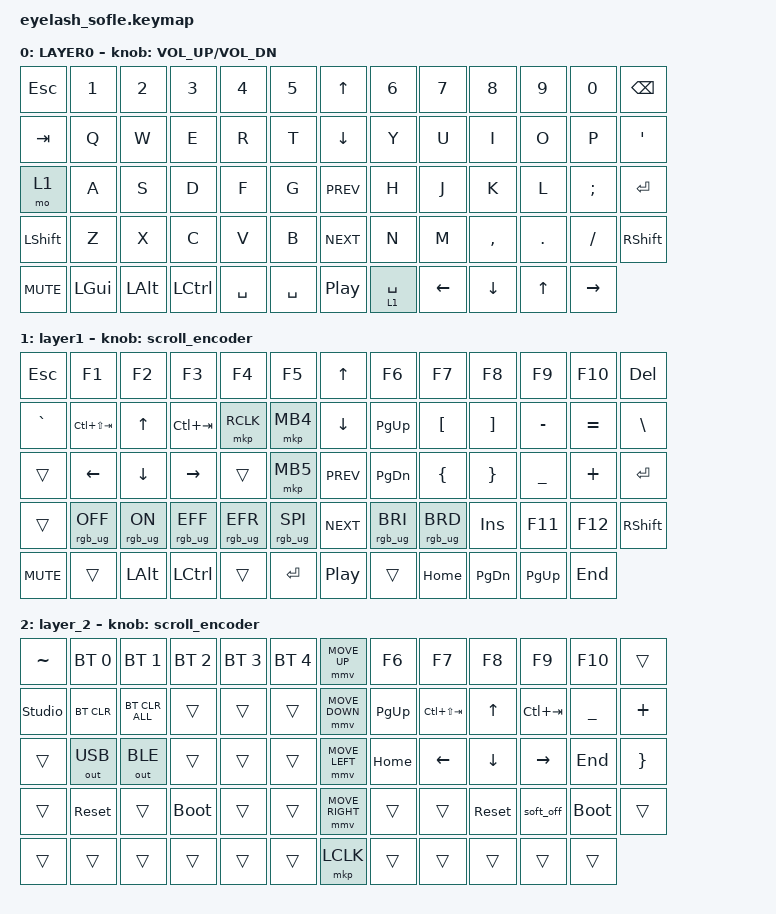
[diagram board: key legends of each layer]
#include <dt-bindings/zmk/mouse.h>
#include <input/processors.dtsi>
#include <behaviors.dtsi>
#include <dt-bindings/zmk/bt.h>
#include <dt-bindings/zmk/keys.h>
#include <dt-bindings/zmk/outputs.h>
#include <dt-bindings/zmk/pointing.h>
#include <dt-bindings/zmk/pointing.h>
#include <dt-bindings/zmk/pointing.h>
#include <dt-bindings/zmk/rgb.h>

/*

   &mmv_input_listener {
       input-processors = <&zip_xy_scaler 2 1>;
   };

   &msc_input_listener {
       input-processors = <&zip_xy_scaler 2 1>;
   };

 */

#define ZMK_MOUSE_DEFAULT_MOVE_VAL 1200  // 600
#define ZMK_MOUSE_DEFAULT_SCRL_VAL 20    // 10

/ {
    behaviors {
        mmv {
            acceleration-exponent = <1>;      // 1
            time-to-max-speed-ms = <900>;    // 40
            delay-ms = <0>;                   // 0
        };

        msc {
            acceleration-exponent = <1>;      // 0
            time-to-max-speed-ms = <400>;      // 500
            delay-ms = <0>;                   //   10
        };
    };

    scroll_encoder: scroll_encoder {
        compatible = "zmk,behavior-sensor-rotate";
        #sensor-binding-cells = <0>;
        bindings = <&msc SCRL_DOWN>, <&msc SCRL_UP>;

        tap-ms = <30>;
    };

    keymap {
        compatible = "zmk,keymap";

        layer0 {
            bindings = <
&kp ESC     &kp N1        &kp N2        &kp N3            &kp N4     &kp N5       &kp UP_ARROW      &kp N6       &kp N7    &kp N8     &kp N9        &kp N0     &kp BACKSPACE
&kp TAB     &kp Q         &kp W         &kp E             &kp R      &kp T        &kp DOWN_ARROW    &kp Y        &kp U     &kp I      &kp O         &kp P      &kp SINGLE_QUOTE
&mo 1       &kp A         &kp S         &kp D             &kp F      &kp G        &kp C_PREV        &kp H        &kp J     &kp K      &kp L         &kp SEMI   &kp ENTER
&kp LSHFT   &kp Z         &kp X         &kp C             &kp V      &kp B        &kp C_NEXT        &kp N        &kp M     &kp COMMA  &kp DOT       &kp FSLH   &kp RIGHT_SHIFT
&kp C_MUTE  &kp LEFT_GUI  &kp LEFT_ALT  &kp LEFT_CONTROL  &kp SPACE  &kp SPACE    &kp C_PLAY_PAUSE  &lt 1 SPACE  &kp LEFT  &kp DOWN   &kp UP_ARROW  &kp RIGHT
            >;

            sensor-bindings = <&inc_dec_kp C_VOLUME_UP C_VOL_DN>;
            display-name = "LAYER0";
        };

        layer_1 {
            bindings = <
&kp ESCAPE  &kp F1           &kp F2          &kp F3            &kp F4           &kp F5             &kp UP_ARROW      &kp F6           &kp F7            &kp F8             &kp F9       &kp F10    &kp DEL
&kp GRAVE   &kp LC(LS(TAB))  &kp UP_ARROW    &kp LC(TAB)       &mkp RCLK        &mkp MB4           &kp DOWN          &kp PG_UP        &kp LEFT_BRACKET  &kp RIGHT_BRACKET  &kp MINUS    &kp EQUAL  &kp BACKSLASH
&trans      &kp LEFT         &kp DOWN        &kp RIGHT         &trans           &mkp MB5           &kp C_PREV        &kp PG_DN        &kp LEFT_BRACE    &kp RIGHT_BRACE    &kp UNDER    &kp PLUS   &kp ENTER
&trans      &rgb_ug RGB_OFF  &rgb_ug RGB_ON  &rgb_ug RGB_EFF   &rgb_ug RGB_EFR  &rgb_ug RGB_SPI    &kp C_NEXT        &rgb_ug RGB_BRI  &rgb_ug RGB_BRD   &kp INSERT         &kp F11      &kp F12    &kp RIGHT_SHIFT
&kp C_MUTE  &trans           &kp LEFT_ALT    &kp LEFT_CONTROL  &trans           &kp ENTER          &kp C_PLAY_PAUSE  &trans           &kp HOME          &kp PAGE_DOWN      &kp PAGE_UP  &kp END
            >;

            display-name = "layer1";
            sensor-bindings = <&scroll_encoder>;
        };

        layer_2 {
            bindings = <
&kp TILDE       &bt BT_SEL 0  &bt BT_SEL 1    &bt BT_SEL 2  &bt BT_SEL 3  &bt BT_SEL 4    &mmv MOVE_UP     &kp F6       &kp F7           &kp F8        &kp F9       &kp F10      &trans
&studio_unlock  &bt BT_CLR    &bt BT_CLR_ALL  &trans        &trans        &trans          &mmv MOVE_DOWN   &kp PAGE_UP  &kp LC(LS(TAB))  &kp UP_ARROW  &kp LC(TAB)  &kp UNDER    &kp PLUS
&trans          &out OUT_USB  &out OUT_BLE    &trans        &trans        &trans          &mmv MOVE_LEFT   &kp HOME     &kp LEFT         &kp DOWN      &kp RIGHT    &kp END      &kp RBRC
&trans          &sys_reset    &trans          &bootloader   &trans        &trans          &mmv MOVE_RIGHT  &trans       &trans           &sys_reset    &soft_off    &bootloader  &trans
&trans          &trans        &trans          &trans        &trans        &trans          &mkp LCLK        &trans       &trans           &trans        &trans       &trans
            >;

            sensor-bindings = <&scroll_encoder>;
        };
    };
};
